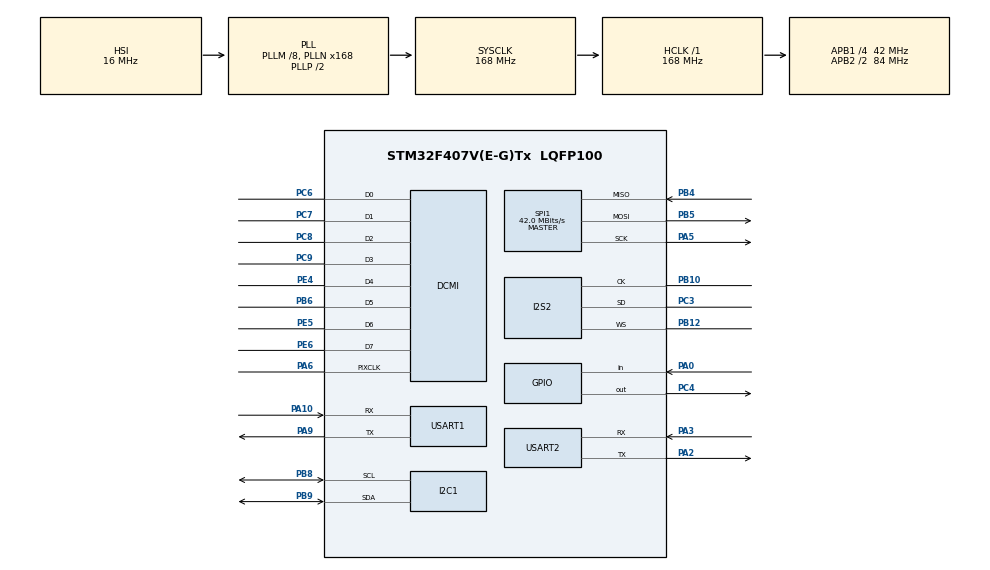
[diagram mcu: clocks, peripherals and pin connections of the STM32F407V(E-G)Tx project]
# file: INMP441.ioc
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DCMI.JPEGMode=DCMI_JPEG_DISABLE
Dma.Request0=SPI2_RX
Dma.Request1=USART1_RX
Dma.Request2=USART1_TX
Dma.SPI2_RX.0.Direction=DMA_PERIPH_TO_MEMORY
Dma.SPI2_RX.0.FIFOMode=DMA_FIFOMODE_DISABLE
Dma.SPI2_RX.0.Instance=DMA1_Stream3
Dma.SPI2_RX.0.MemDataAlignment=DMA_MDATAALIGN_HALFWORD
Dma.SPI2_RX.0.MemInc=DMA_MINC_ENABLE
Dma.SPI2_RX.0.Mode=DMA_CIRCULAR
Dma.SPI2_RX.0.PeriphDataAlignment=DMA_PDATAALIGN_HALFWORD
Dma.SPI2_RX.0.PeriphInc=DMA_PINC_DISABLE
Dma.SPI2_RX.0.Priority=DMA_PRIORITY_LOW
Dma.USART1_RX.1.Direction=DMA_PERIPH_TO_MEMORY
Dma.USART1_RX.1.FIFOMode=DMA_FIFOMODE_DISABLE
Dma.USART1_RX.1.Instance=DMA2_Stream2
Dma.USART1_RX.1.MemDataAlignment=DMA_MDATAALIGN_BYTE
Dma.USART1_RX.1.MemInc=DMA_MINC_ENABLE
Dma.USART1_RX.1.Mode=DMA_NORMAL
Dma.USART1_RX.1.PeriphDataAlignment=DMA_PDATAALIGN_BYTE
Dma.USART1_RX.1.PeriphInc=DMA_PINC_DISABLE
Dma.USART1_RX.1.Priority=DMA_PRIORITY_LOW
Dma.USART1_TX.2.Direction=DMA_MEMORY_TO_PERIPH
Dma.USART1_TX.2.FIFOMode=DMA_FIFOMODE_DISABLE
Dma.USART1_TX.2.Instance=DMA2_Stream7
Dma.USART1_TX.2.MemDataAlignment=DMA_MDATAALIGN_BYTE
Dma.USART1_TX.2.MemInc=DMA_MINC_ENABLE
Dma.USART1_TX.2.Mode=DMA_NORMAL
Dma.USART1_TX.2.PeriphDataAlignment=DMA_PDATAALIGN_BYTE
Dma.USART1_TX.2.PeriphInc=DMA_PINC_DISABLE
Dma.USART1_TX.2.Priority=DMA_PRIORITY_LOW
I2S2.DataFormat=I2S_DATAFORMAT_16B_EXTENDED
I2S2.ErrorAudioFreq=-0.36 %
I2S2.FullDuplexMode=I2S_FULLDUPLEXMODE_DISABLE
I2S2.Instance=SPI$Index
I2S2.Mode=I2S_MODE_MASTER_RX
I2S2.RealAudioFreq=7.971 KHz
I2S2.Standard=I2S_STANDARD_PHILIPS
I2S2.VirtualMode=I2S_MODE_MASTER
Mcu.Family=STM32F4
Mcu.Name=STM32F407V(E-G)Tx
Mcu.Package=LQFP100
NVIC.DMA1_Stream3_IRQn=true\:0\:0\:false\:false\:true\:false\:true\:true
NVIC.DMA2_Stream2_IRQn=true\:0\:0\:false\:false\:true\:false\:true\:true
NVIC.DMA2_Stream7_IRQn=true\:0\:0\:false\:false\:true\:false\:true\:true
NVIC.PriorityGroup=NVIC_PRIORITYGROUP_4
PA0-WKUP.Signal=GPIO_Input
PA10.Mode=Asynchronous
PA10.Signal=USART1_RX
PA13.Mode=Serial_Wire
PA13.Signal=SYS_JTMS-SWDIO
PA14.Mode=Serial_Wire
PA14.Signal=SYS_JTCK-SWCLK
PA2.Mode=Asynchronous
PA2.Signal=USART2_TX
PA3.Mode=Asynchronous
PA3.Signal=USART2_RX
PA5.Mode=Full_Duplex_Master
PA5.Signal=SPI1_SCK
PA6.Mode=Slave_8_bits_Embedded_Synchro
PA6.Signal=DCMI_PIXCLK
PA9.Mode=Asynchronous
PA9.Signal=USART1_TX
PB10.Mode=Half_Duplex_Master
PB10.Signal=I2S2_CK
PB12.Mode=Half_Duplex_Master
PB12.Signal=I2S2_WS
PB4.Mode=Full_Duplex_Master
PB4.Signal=SPI1_MISO
PB5.Mode=Full_Duplex_Master
PB5.Signal=SPI1_MOSI
PB6.Mode=Slave_8_bits_Embedded_Synchro
PB6.Signal=DCMI_D5
PB8.Mode=I2C
PB8.Signal=I2C1_SCL
PB9.Mode=I2C
PB9.Signal=I2C1_SDA
PC3.Mode=Half_Duplex_Master
PC3.Signal=I2S2_SD
PC4.Signal=GPIO_Output
PC6.Mode=Slave_8_bits_Embedded_Synchro
PC6.Signal=DCMI_D0
PC7.Mode=Slave_8_bits_Embedded_Synchro
PC7.Signal=DCMI_D1
PC8.Mode=Slave_8_bits_Embedded_Synchro
PC8.Signal=DCMI_D2
PC9.Mode=Slave_8_bits_Embedded_Synchro
PC9.Signal=DCMI_D3
PE4.Mode=Slave_8_bits_Embedded_Synchro
PE4.Signal=DCMI_D4
PE5.Mode=Slave_8_bits_Embedded_Synchro
PE5.Signal=DCMI_D6
PE6.Mode=Slave_8_bits_Embedded_Synchro
PE6.Signal=DCMI_D7
PH0-OSC_IN.Mode=HSE-External-Oscillator
PH0-OSC_IN.Signal=RCC_OSC_IN
PH1-OSC_OUT.Mode=HSE-External-Oscillator
PH1-OSC_OUT.Signal=RCC_OSC_OUT
ProjectManager.HeapSize=0x200
ProjectManager.StackSize=0x400
ProjectManager.TargetToolchain=MDK-ARM V5.32
RCC.48MHZClocksFreq_Value=84000000
RCC.AHBFreq_Value=168000000
RCC.APB1CLKDivider=RCC_HCLK_DIV4
RCC.APB1Freq_Value=42000000
RCC.APB1TimFreq_Value=84000000
RCC.APB2CLKDivider=RCC_HCLK_DIV2
RCC.APB2Freq_Value=84000000
RCC.APB2TimFreq_Value=168000000
RCC.CortexFreq_Value=168000000
RCC.HCLKFreq_Value=168000000
RCC.HSE_VALUE=25000000
RCC.HSI_VALUE=16000000
RCC.LSE_VALUE=32768
RCC.PLLI2SN=50
RCC.PLLM=8
RCC.PLLN=168
RCC.SYSCLKFreq_VALUE=168000000
RCC.SYSCLKSource=RCC_SYSCLKSOURCE_PLLCLK
RCC.VCOOutputFreq_Value=336000000
SPI1.CalculateBaudRate=42.0 MBits/s
SPI1.Direction=SPI_DIRECTION_2LINES
SPI1.Mode=SPI_MODE_MASTER
SPI1.VirtualType=VM_MASTER
USART1.VirtualMode=VM_ASYNC
USART2.VirtualMode=VM_ASYNC
board=custom

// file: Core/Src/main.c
/* USER CODE BEGIN Header */
/**
  ******************************************************************************
  * @file           : main.c
  * @brief          : Main program body
  ******************************************************************************
  * @attention
  *
  * Copyright (c) 2025 STMicroelectronics.
  * All rights reserved.
  *
  * This software is licensed under terms that can be found in the LICENSE file
  * in the root directory of this software component.
  * If no LICENSE file comes with this software, it is provided AS-IS.
  *
  ******************************************************************************
  */
/* USER CODE END Header */
#include "main.h"
#include "dcmi.h"
#include "dma.h"
#include "i2c.h"
#include "i2s.h"
#include "spi.h"
#include "usart.h"
#include "gpio.h"

/* USER CODE BEGIN Includes */
#include "speex.h"
#include <stdio.h>
#include <stdlib.h>
/* USER CODE END Includes */

/* USER CODE BEGIN PTD */
#include <stdio.h>
#include <stdlib.h>
#include <string.h>
#include "speex.h"

// 配置参数
#define SAMPLE_RATE 8000           // 8kHz 采样率
#define FRAME_SIZE 160              // 20ms 帧大小
#define MAX_ENCODED_BYTES 200       // 编码后最大字节数
int QUALITY=10;                  // 编码质量 (0-10);

// 全局状态
static SpeexBits g_enc_bits;
static SpeexBits g_dec_bits;
static void *g_enc_state = NULL;
static void *g_dec_state = NULL;
static int g_initialized = 0;

// 测试PCM数据
short pcm_array[160] = {
    1234, -5678, 9012, -3456, 7890, -1234, 5678, -9012,
    3456, -7890, 1357, -2468, 9753, -8642, 1122, -3344,
    5566, -7788, 9900, -1122, 3344, -5566, 7788, -9900,
    2468, -1357, 8642, -9753, 2233, -4455, 6677, -8899,
    1010, -2020, 3030, -4040, 5050, -6060, 7070, -8080,
    9090, -1010, 2020, -3030, 4040, -5050, 6060, -7070,
    8080, -9090, 1212, -3434, 5656, -7878, 9090, -2121,
    4343, -6565, 8787, -9898, 1313, -5757, 9191, -3535,
    -1515, 2626, -4747, 6868, -8989, 1414, -3636, 5858,
    -7979, 9292, -1616, 3737, -5959, 8080, -2323, 4545,
    -6767, 8989, -1212, 3434, -5656, 7878, -9090, 2121,
    -4343, 6565, -8787, 9898, -1313, 5757, -9191, 3535,
    1515, -2626, 4747, -6868, 8989, -1414, 3636, -5858,
    7979, -9292, 1616, -3737, 5959, -8080, 2323, -4545,
    6767, -8989, 1234, -5678, 9012, -3456, 7890, -1234,
    5678, -9012, 3456, -7890, 1357, -2468, 9753, -8642,
    1122, -3344, 5566, -7788, 9900, -1122, 3344, -5566,
    7788, -9900, 2468, -1357, 8642, -9753, 2233, -4455,
    6677, -8899, 1010, -2020, 3030, -4040, 5050, -6060,
    7070, -8080, 9090, -1010, 2020, -3030, 4040, -5050
};

/**
 * @brief 十六进制打印数据
 * @param data 数据缓冲区
 * @param size 数据大小
 */
void print_hex(const char *data, int size) {
    printf("数据 (%d 字节): ", size);
    for(int i = 0; i < size; i++) {
        printf("%02X ", (unsigned char)data[i]);
    }
    printf("\n");
}

/**
 * @brief 打印PCM数据
 * @param pcm PCM数据缓冲区
 * @param size 数据大小
 */
void print_pcm(const short *pcm, int size) {
    printf("PCM数据 (%d 样本):\n", size);
    for(int i = 0; i < size; i++) {
        printf("%6d ", pcm[i]);
        if((i + 1) % 10 == 0) printf("\n");
    }
    printf("\n");
}

/**
 * @brief 初始化Speex编解码器
 * @return 成功返回0，失败返回-1
 */
int speex_encod_init(void) {
    // 初始化编码器
    speex_bits_init(&g_enc_bits);
    g_enc_state = speex_encoder_init(&speex_nb_mode);
    if (g_enc_state == NULL) {
        printf("❌ 编码器初始化失败\n");
        speex_bits_destroy(&g_enc_bits);
        return -1;
    }

    // 设置编码参数
    speex_encoder_ctl(g_enc_state, SPEEX_SET_QUALITY, &QUALITY);
    int vbr = 0;  // 关闭VBR，使用固定比特率
    speex_encoder_ctl(g_enc_state, SPEEX_SET_VBR, &vbr);

    // 显示配置信息
    int frame_size;
    speex_encoder_ctl(g_enc_state, SPEEX_GET_FRAME_SIZE, &frame_size);
    printf("配置: 帧大小=%d样本, 采样率=%dHz\n", frame_size, SAMPLE_RATE);

    return 0;
}
int speex_decod_init(void) {
    // 初始化解码器
    speex_bits_init(&g_dec_bits);
    g_dec_state = speex_decoder_init(&speex_nb_mode);
    if (g_dec_state == NULL) {
        printf("❌ 解码器初始化失败\n");
        speex_bits_destroy(&g_enc_bits);
        speex_encoder_destroy(g_enc_state);
        return -1;
    }

    // 设置解码器增强
    int enh = 1;
    speex_decoder_ctl(g_dec_state, SPEEX_SET_ENH, &enh);

    g_initialized = 1;
    printf("✅ Speex编解码器初始化成功 (质量%d)\n", QUALITY);

    // 显示配置信息
    int frame_size;
    speex_encoder_ctl(g_enc_state, SPEEX_GET_FRAME_SIZE, &frame_size);
    printf("配置: 帧大小=%d样本, 采样率=%dHz\n", frame_size, SAMPLE_RATE);

    return 0;
}
/**
 * @brief 编码PCM数据
 * @param pcm_input 输入的PCM数据
 * @param output_buffer 输出编码数据缓冲区
 * @return 编码数据字节数，失败返回-1
 */
int speex_encode_frame(const short *pcm_input, char *output_buffer) {

    // 编码过程
    speex_bits_reset(&g_enc_bits);
    speex_encode_int(g_enc_state, (spx_int16_t *)pcm_input, &g_enc_bits);
    int nbBytes = speex_bits_write(&g_enc_bits, output_buffer, MAX_ENCODED_BYTES);

    if (nbBytes <= 0) {
        printf("❌ 编码失败\n");
        return -1;
    }

    return nbBytes;
}

/**
 * @brief 解码Speex数据
 * @param encoded_data 输入的编码数据
 * @param encoded_size 编码数据大小
 * @param pcm_output 输出PCM数据缓冲区
 * @return 成功返回0，失败返回-1
 */
int speex_decode_frame(const char *encoded_data, int encoded_size, short *pcm_output) {

    // 解码过程
    speex_bits_reset(&g_dec_bits);
    speex_bits_read_from(&g_dec_bits, encoded_data, encoded_size);
    int ret = speex_decode_int(g_dec_state, &g_dec_bits, (spx_int16_t *)pcm_output);

    if (ret != 0) {
        printf("❌ 解码失败，错误码: %d\n", ret);
        return -1;
    }

    return 0;
}

/**
 * @brief 比较两个PCM帧的差异
 * @param orig 原始PCM数据
 * @param decoded 解码后的PCM数据
 * @param size 数据大小
 */
void compare_pcm_frames(const short *orig, const short *decoded, int size) {
    printf("=== PCM数据对比 ===\n");

    int max_diff = 0;
    int diff_count = 0;
    float total_diff = 0;

    for(int i = 0; i < size; i++) {
        int diff = abs(orig[i] - decoded[i]);
        if(diff > 0) {
            diff_count++;
            total_diff += diff;
            if(diff > max_diff) max_diff = diff;
        }

        // 打印前10个样本的对比
        if(i < 10) {
            printf("样本[%2d]: 原始=%6d, 解码=%6d, 差异=%6d\n",
                   i, orig[i], decoded[i], diff);
        }
    }

    printf("\n对比统计:\n");
    printf("不同样本数: %d/%d (%.1f%%)\n",
           diff_count, size, (diff_count * 100.0) / size);
    printf("最大差异: %d\n", max_diff);
    printf("平均差异: %.2f\n", total_diff / size);
    printf("压缩比: %.2f:1 (原始:%d字节 -> 编码后:约%d字节)\n",
           (size * 2.0) / 25.0, size * 2, 25); // 估算
}

/**
 * @brief 清理资源
 */
void speex_encod_cleanup(void) {
    if (g_enc_state != NULL) {
        speex_encoder_destroy(g_enc_state);
        g_enc_state = NULL;
    }
    speex_bits_destroy(&g_enc_bits);
    g_initialized = 0;
    printf("✅ Speex编码器资源已清理\n");
}

void speex_decod_cleanup(void){
    if (g_dec_state != NULL) {
        speex_decoder_destroy(g_dec_state);
        g_dec_state = NULL;
    }
		speex_bits_destroy(&g_dec_bits);
		printf("✅ Speex解码器资源已清理\n");
}
/**
 * @brief 完整的编码解码测试
 */
void complete_speex_test(void) {
    printf("\n");
    printf("========================================\n");
    printf("        Speex 编解码完整测试\n");
    printf("========================================\n");

    // 1. 初始化
    printf("\n1. 初始化编码器...\n");
    if (speex_encod_init() != 0) {
        printf("初始化失败，退出测试\n");
        return;
    }

    // 2. 显示原始PCM数据
    printf("\n2. 原始PCM数据:\n");
    print_pcm(pcm_array, FRAME_SIZE);

    // 3. 编码
    printf("\n3. 开始编码...\n");
    char encoded_data[MAX_ENCODED_BYTES];
    int encoded_size = speex_encode_frame(pcm_array, encoded_data);

    if (encoded_size <= 0) {
        printf("编码失败，退出测试\n");
        speex_encod_cleanup();
        return;
    }

    printf("✅ 编码成功\n");
    print_hex(encoded_data, encoded_size);

    // 4. 解码
		printf("\n1. 初始化解码器...\n");
    if (speex_decod_init() != 0) {
        printf("初始化失败，退出测试\n");
        return;
    }
    printf("\n4. 开始解码...\n");

    short decoded_pcm[FRAME_SIZE];
    if (speex_decode_frame(encoded_data, encoded_size, decoded_pcm) != 0) {
        printf("解码失败，退出测试\n");
        speex_decod_cleanup();
        return;
    }

    printf("✅ 解码成功\n");
    print_pcm(decoded_pcm, FRAME_SIZE);

    // 5. 对比分析
    printf("\n5. 编码解码质量分析:\n");
    compare_pcm_frames(pcm_array, decoded_pcm, FRAME_SIZE);

    // 6. 清理资源
    printf("\n6. 清理资源...\n");
    speex_decod_cleanup();

    printf("\n========================================\n");
    printf("             测试完成\n");
    printf("========================================\n");
}

/* USER CODE END PTD */

/* USER CODE BEGIN PM */
int fputc(int ch, FILE *f) {
    HAL_UART_Transmit(&huart1, (uint8_t *)&ch, 1, 0x1000);  // 使用USART1，超时时间足够长
    return ch;
}
/* USER CODE END PM */

void SystemClock_Config(void);

int main(void)
{

  /* MCU Configuration--------------------------------------------------------*/

  /* Reset of all peripherals, Initializes the Flash interface and the Systick. */
  HAL_Init();

  /* Configure the system clock */
  SystemClock_Config();

  /* Initialize all configured peripherals */
  MX_GPIO_Init();
  MX_DMA_Init();
  MX_I2S2_Init();
  MX_USART1_UART_Init();
  MX_DCMI_Init();
  MX_I2C1_Init();
  MX_SPI1_Init();
  MX_USART2_UART_Init();
  /* USER CODE BEGIN 2 */
	printf("Speex 编码解码演示程序\n");
  printf("采样率: %d Hz, 帧大小: %d 样本, 质量: %d\n\n",
  SAMPLE_RATE, FRAME_SIZE, QUALITY);

  complete_speex_test();
  //HAL_I2S_Receive_DMA(&hi2s2,(uint16_t*)dma,80);

  /* USER CODE END 2 */

  /* Infinite loop */
  while (1)
  {

  }
}

void SystemClock_Config(void)
{
  RCC_OscInitTypeDef RCC_OscInitStruct = {0};
  RCC_ClkInitTypeDef RCC_ClkInitStruct = {0};

  /** Configure the main internal regulator output voltage
  */
  __HAL_RCC_PWR_CLK_ENABLE();
  __HAL_PWR_VOLTAGESCALING_CONFIG(PWR_REGULATOR_VOLTAGE_SCALE1);

  /** Initializes the RCC Oscillators according to the specified parameters
  * in the RCC_OscInitTypeDef structure.
  */
  RCC_OscInitStruct.OscillatorType = RCC_OSCILLATORTYPE_HSI;
  RCC_OscInitStruct.HSIState = RCC_HSI_ON;
  RCC_OscInitStruct.HSICalibrationValue = RCC_HSICALIBRATION_DEFAULT;
  RCC_OscInitStruct.PLL.PLLState = RCC_PLL_ON;
  RCC_OscInitStruct.PLL.PLLSource = RCC_PLLSOURCE_HSI;
  RCC_OscInitStruct.PLL.PLLM = 8;
  RCC_OscInitStruct.PLL.PLLN = 168;
  RCC_OscInitStruct.PLL.PLLP = RCC_PLLP_DIV2;
  RCC_OscInitStruct.PLL.PLLQ = 4;
  if (HAL_RCC_OscConfig(&RCC_OscInitStruct) != HAL_OK)
  {
    Error_Handler();
  }

  /** Initializes the CPU, AHB and APB buses clocks
  */
  RCC_ClkInitStruct.ClockType = RCC_CLOCKTYPE_HCLK|RCC_CLOCKTYPE_SYSCLK
                              |RCC_CLOCKTYPE_PCLK1|RCC_CLOCKTYPE_PCLK2;
  RCC_ClkInitStruct.SYSCLKSource = RCC_SYSCLKSOURCE_PLLCLK;
  RCC_ClkInitStruct.AHBCLKDivider = RCC_SYSCLK_DIV1;
  RCC_ClkInitStruct.APB1CLKDivider = RCC_HCLK_DIV4;
  RCC_ClkInitStruct.APB2CLKDivider = RCC_HCLK_DIV2;

  if (HAL_RCC_ClockConfig(&RCC_ClkInitStruct, FLASH_LATENCY_5) != HAL_OK)
  {
    Error_Handler();
  }
}

void Error_Handler(void)
{
  __disable_irq();
  while (1)
  {
  }
}
